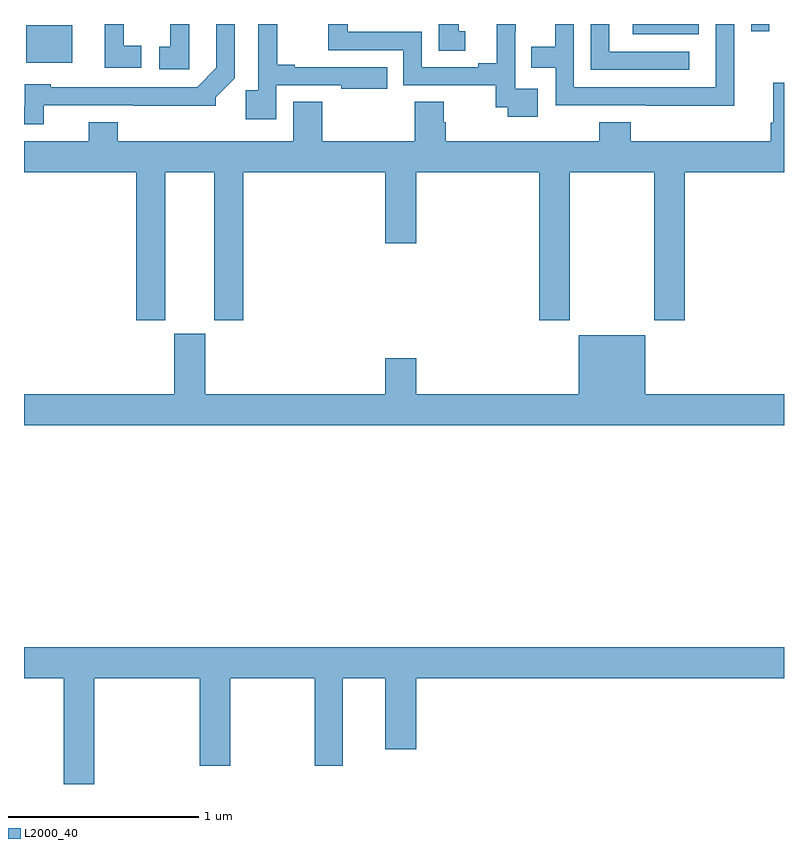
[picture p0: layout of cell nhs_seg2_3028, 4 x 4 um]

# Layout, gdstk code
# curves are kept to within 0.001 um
import gdstk
lib = gdstk.Library(unit=1e-6, precision=1e-09)
def R(c, l, rs):  # rectangles x0, y0, x1, y1
    for r in rs: c.add(gdstk.rectangle(r[:2], r[2:], *l))
def P(c, l, *ps):  # polygons
    for p in ps: c.add(gdstk.Polygon(p, *l))
L2000_40 = (2000, 40)

nhs_seg2_3028 = lib.new_cell('nhs_seg2_3028')
R(nhs_seg2_3028, L2000_40, [(271.013,597.596,271.255,597.793), (274.203,597.746,274.552,597.8), (274.827,597.762,274.923,597.8)])
P(nhs_seg2_3028, L2000_40, [(273.703,597.459),(273.585,597.459),(273.585,597.763),(273.587,597.763),(273.587,597.8),(273.488,597.8),(273.488,597.593),(273.392,597.593),(273.392,597.573),(273.093,597.573),(273.093,597.759),(272.703,597.759),(272.703,597.8),(272.602,597.8),(272.602,597.663),(272.997,597.663),(272.997,597.477),(273.484,597.477),(273.484,597.363),(273.547,597.363),(273.547,597.312),(273.703,597.312)],
  [(271.87,597.8),(271.771,597.8),(271.771,597.681),(271.713,597.681),(271.713,597.561),(271.87,597.561)],
  [(274.739,597.674),(274.737,597.674),(274.737,597.8),(274.641,597.8),(274.641,597.468),(273.894,597.468),(273.894,597.8),(273.797,597.8),(273.797,597.679),(273.67,597.679),(273.67,597.57),(273.798,597.57),(273.798,597.372),(274.276,597.372),(274.276,597.371),(274.739,597.371)],
  [(272.328,597.477),(272.669,597.477),(272.669,597.458),(272.912,597.458),(272.912,597.573),(272.425,597.573),(272.425,597.586),(272.333,597.586),(272.333,597.8),(272.232,597.8),(272.232,597.451),(272.167,597.451),(272.167,597.3),(272.328,597.3)],
  [(273.322,597.762),(273.289,597.762),(273.289,597.8),(273.182,597.8),(273.182,597.658),(273.322,597.658)],
  [(274.501,597.654),(274.08,597.654),(274.08,597.8),(273.984,597.8),(273.984,597.558),(274.501,597.558)],
  [(271.618,597.686),(271.524,597.686),(271.524,597.8),(271.424,597.8),(271.424,597.57),(271.618,597.57)],
  [(271.104,597.372),(272.01,597.371),(272.01,597.415),(272.109,597.514),(272.109,597.8),(272.012,597.8),(272.012,597.569),(271.911,597.468),(271.14,597.468),(271.14,597.484),(271.004,597.484),(271.004,597.369),(271,597.369),(271,597.273),(271.104,597.273)],
  [(271.744,597.02),(272,597.02),(272,596.241),(272.153,596.241),(272.153,597.02),(272.9,597.02),(272.9,596.646),(273.064,596.646),(273.064,597.02),(273.713,597.02),(273.713,596.241),(273.873,596.241),(273.873,597.02),(274.318,597.02),(274.318,596.241),(274.478,596.241),(274.478,597.02),(275,597.02),(275,597.492),(274.943,597.492),(274.943,597.28),(274.931,597.28),(274.931,597.184),(274.193,597.184),(274.193,597.283),(274.028,597.283),(274.028,597.184),(273.221,597.184),(273.221,597.282),(273.208,597.282),(273.208,597.392),(273.056,597.392),(273.056,597.184),(272.57,597.184),(272.57,597.392),(272.417,597.392),(272.417,597.184),(271.493,597.184),(271.493,597.283),(271.34,597.283),(271.34,597.184),(271,597.184),(271,597.02),(271.592,597.02),(271.592,596.241),(271.744,596.241)],
  [(275,595.852),(274.27,595.852),(274.27,596.161),(273.92,596.161),(273.92,595.852),(273.064,595.852),(273.064,596.041),(272.9,596.041),(272.9,595.852),(271.954,595.852),(271.954,596.169),(271.79,596.169),(271.79,595.852),(271,595.852),(271,595.688),(275,595.688)],
  [(271.37,594.356),(271.925,594.356),(271.925,593.895),(272.085,593.895),(272.085,594.356),(272.53,594.356),(272.53,593.895),(272.677,593.895),(272.677,594.356),(272.9,594.356),(272.9,593.982),(273.064,593.982),(273.064,594.356),(275,594.356),(275,594.52),(271,594.52),(271,594.356),(271.21,594.356),(271.21,593.8),(271.37,593.8)])

lib.write_gds('nhs_seg2_3028.gds')
